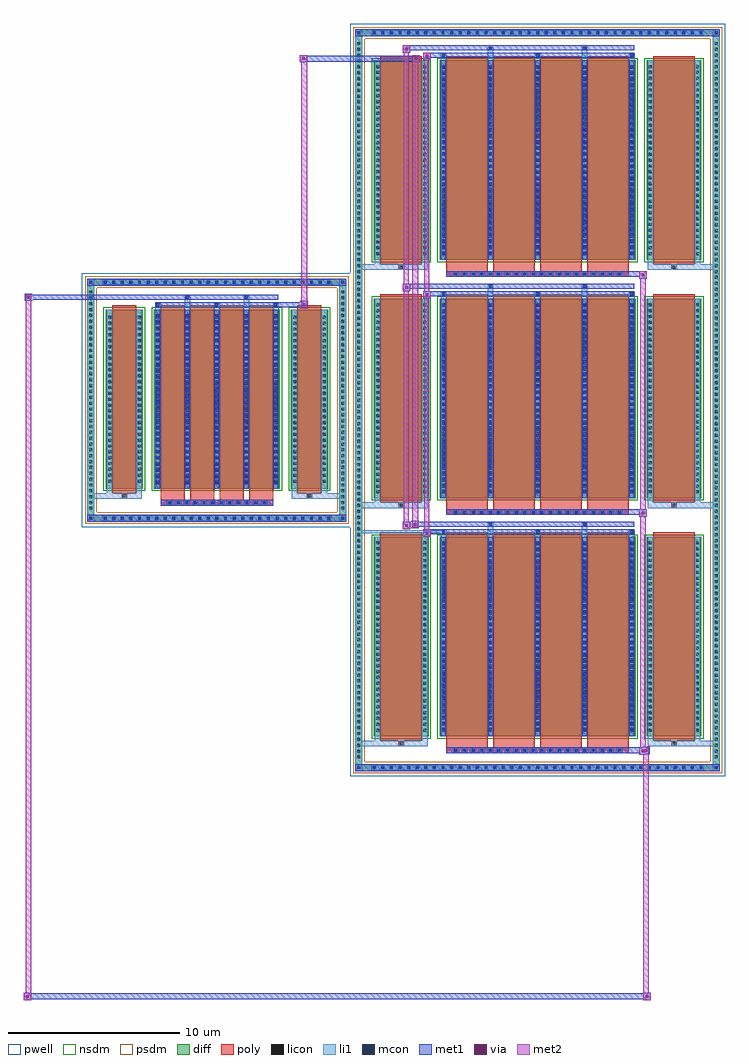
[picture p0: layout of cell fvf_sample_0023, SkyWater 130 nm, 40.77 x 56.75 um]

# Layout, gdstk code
import gdstk
lib = gdstk.Library(unit=1e-6, precision=1e-09)
def R(c, l, rs):  # rectangles x0, y0, x1, y1
    for r in rs: c.add(gdstk.rectangle(r[:2], r[2:], *l))
def A(c, l, x, y, w, h, nx, ny, dx, dy):  # array of equal rectangles
    R(c, l, [(x+i*dx, y+j*dy, x+i*dx+w, y+j*dy+h) for i in range(nx) for j in range(ny)])
def P(c, l, *ps):  # polygons
    for p in ps: c.add(gdstk.Polygon(p, *l))
pwell = (64, 44)
diff = (65, 20)
poly = (66, 20)
licon = (66, 44)
li1 = (67, 20)
mcon = (67, 44)
met1 = (68, 20)
via = (68, 44)
met2 = (69, 20)
nsdm = (93, 44)
psdm = (94, 20)

fvf_sample_0023 = lib.new_cell('fvf_sample_0023')
R(fvf_sample_0023, pwell, [(7.743,-21.872,29.549,21.872), (-7.843,-7.378,7.843,7.378)])
A(fvf_sample_0023, diff, 8.941, -21.562, 0.41, 0.41, 39, 2, 0.5, 42.714)
A(fvf_sample_0023, diff, 8.053, -20.945, 0.41, 0.41, 1, 123, 0, 0.34)
A(fvf_sample_0023, diff, 28.829, -20.945, 0.41, 0.41, 1, 123, 0, 0.34)
A(fvf_sample_0023, diff, 9.123, -19.541, 3.186, 11.602, 1, 3, 0, 13.848)
A(fvf_sample_0023, diff, 12.949, -19.541, 11.394, 11.602, 1, 3, 0, 13.848)
A(fvf_sample_0023, diff, 24.983, -19.541, 3.186, 11.602, 1, 3, 0, 13.848)
A(fvf_sample_0023, diff, -6.705, -7.068, 0.41, 0.41, 27, 2, 0.5, 13.726)
A(fvf_sample_0023, diff, -7.533, -6.495, 0.41, 0.41, 1, 38, 0, 0.34)
A(fvf_sample_0023, diff, 7.123, -6.495, 0.41, 0.41, 1, 38, 0, 0.34)
R(fvf_sample_0023, diff, [(8.941,-21.562,28.351,-21.152), (8.053,-20.945,8.463,20.945), (28.829,-20.945,29.239,20.945), (-6.705,-7.068,6.705,-6.658), (-7.533,-6.495,-7.123,6.495), (7.123,-6.495,7.533,6.495), (-6.463,-5.147,-4.297,5.263), (-3.657,-5.147,3.657,5.263), (4.297,-5.147,6.463,5.263), (-6.705,6.658,6.705,7.068), (8.941,21.152,28.351,21.562)])
P(fvf_sample_0023, diff, [(7.533,7.068),(-7.533,7.068),(-7.533,-6.658),(-7.123,-6.658),(-7.123,6.658),(7.123,6.658),(7.123,-6.658),(-7.123,-6.658),(-7.533,-6.658),(-7.533,-7.068),(7.533,-7.068)],
  [(29.239,21.562),(8.053,21.562),(8.053,-21.152),(8.463,-21.152),(8.463,21.152),(28.829,21.152),(28.829,-21.152),(8.463,-21.152),(8.053,-21.152),(8.053,-21.562),(29.239,-21.562)])
A(fvf_sample_0023, poly, 13.339, -20.522, 10.614, 0.33, 1, 3, 0, 13.848)
A(fvf_sample_0023, poly, 13.731, -20.522, 0.33, 0.33, 20, 3, 0.5, 13.848)
A(fvf_sample_0023, poly, 13.339, -20.192, 2.406, 0.401, 4, 3, 2.736, 13.848)
A(fvf_sample_0023, poly, 9.513, -19.791, 2.406, 12.102, 1, 3, 0, 13.848)
A(fvf_sample_0023, poly, 13.339, -19.791, 2.406, 12.102, 4, 3, 2.736, 13.848)
A(fvf_sample_0023, poly, 25.373, -19.791, 2.406, 12.102, 1, 3, 0, 13.848)
A(fvf_sample_0023, poly, -2.915, -6.128, 0.33, 0.33, 12, 1, 0.5, 0)
A(fvf_sample_0023, poly, -3.267, -5.798, 1.386, 0.401, 4, 1, 1.716, 0)
A(fvf_sample_0023, poly, -3.267, -5.397, 1.386, 10.91, 4, 1, 1.716, 0)
R(fvf_sample_0023, poly, [(10.551,-20.121,10.881,-19.791), (10.551,-20.121,10.881,-19.791), (26.411,-20.121,26.741,-19.791), (26.411,-20.121,26.741,-19.791), (10.551,-6.273,10.881,-5.943), (10.551,-6.273,10.881,-5.943), (26.411,-6.273,26.741,-5.943), (26.411,-6.273,26.741,-5.943), (-3.267,-6.128,3.267,-5.798), (-5.545,-5.727,-5.215,-5.397), (-5.545,-5.727,-5.215,-5.397), (5.215,-5.727,5.545,-5.397), (5.215,-5.727,5.545,-5.397), (-6.073,-5.397,-4.687,5.513), (4.687,-5.397,6.073,5.513), (10.551,7.575,10.881,7.905), (10.551,7.575,10.881,7.905), (26.411,7.575,26.741,7.905), (26.411,7.575,26.741,7.905)])
A(fvf_sample_0023, licon, 9.061, -21.442, 0.17, 0.17, 39, 2, 0.5, 42.714)
A(fvf_sample_0023, licon, 8.173, -20.825, 0.17, 0.17, 1, 123, 0, 0.34)
A(fvf_sample_0023, licon, 28.949, -20.825, 0.17, 0.17, 1, 123, 0, 0.34)
A(fvf_sample_0023, licon, 13.811, -20.442, 0.17, 0.17, 20, 3, 0.5, 13.848)
A(fvf_sample_0023, licon, 10.631, -20.041, 0.17, 0.17, 1, 3, 0, 13.848)
A(fvf_sample_0023, licon, 26.491, -20.041, 0.17, 0.17, 1, 3, 0, 13.848)
A(fvf_sample_0023, licon, 9.263, -19.265, 0.17, 0.17, 1, 33, 0, 0.34)
A(fvf_sample_0023, licon, 11.999, -19.265, 0.17, 0.17, 1, 33, 0, 0.34)
A(fvf_sample_0023, licon, 13.089, -19.265, 0.17, 0.17, 5, 33, 2.736, 0.34)
A(fvf_sample_0023, licon, 25.123, -19.265, 0.17, 0.17, 1, 33, 0, 0.34)
A(fvf_sample_0023, licon, 27.859, -19.265, 0.17, 0.17, 1, 33, 0, 0.34)
A(fvf_sample_0023, licon, -6.585, -6.948, 0.17, 0.17, 27, 2, 0.5, 13.726)
A(fvf_sample_0023, licon, -7.413, -6.375, 0.17, 0.17, 1, 38, 0, 0.34)
A(fvf_sample_0023, licon, 7.243, -6.375, 0.17, 0.17, 1, 38, 0, 0.34)
A(fvf_sample_0023, licon, -2.835, -6.048, 0.17, 0.17, 12, 1, 0.5, 0)
A(fvf_sample_0023, licon, 9.263, -5.417, 0.17, 0.17, 1, 33, 0, 0.34)
A(fvf_sample_0023, licon, 11.999, -5.417, 0.17, 0.17, 1, 33, 0, 0.34)
A(fvf_sample_0023, licon, 13.089, -5.417, 0.17, 0.17, 5, 33, 2.736, 0.34)
A(fvf_sample_0023, licon, 25.123, -5.417, 0.17, 0.17, 1, 33, 0, 0.34)
A(fvf_sample_0023, licon, 27.859, -5.417, 0.17, 0.17, 1, 33, 0, 0.34)
A(fvf_sample_0023, licon, -6.323, -4.787, 0.17, 0.17, 1, 29, 0, 0.34)
A(fvf_sample_0023, licon, -4.607, -4.787, 0.17, 0.17, 1, 29, 0, 0.34)
A(fvf_sample_0023, licon, -3.517, -4.787, 0.17, 0.17, 5, 29, 1.716, 0.34)
A(fvf_sample_0023, licon, 4.437, -4.787, 0.17, 0.17, 1, 29, 0, 0.34)
A(fvf_sample_0023, licon, 6.153, -4.787, 0.17, 0.17, 1, 29, 0, 0.34)
A(fvf_sample_0023, licon, 9.263, 8.431, 0.17, 0.17, 1, 33, 0, 0.34)
A(fvf_sample_0023, licon, 11.999, 8.431, 0.17, 0.17, 1, 33, 0, 0.34)
A(fvf_sample_0023, licon, 13.089, 8.431, 0.17, 0.17, 5, 33, 2.736, 0.34)
A(fvf_sample_0023, licon, 25.123, 8.431, 0.17, 0.17, 1, 33, 0, 0.34)
A(fvf_sample_0023, licon, 27.859, 8.431, 0.17, 0.17, 1, 33, 0, 0.34)
R(fvf_sample_0023, licon, [(-5.465,-5.647,-5.295,-5.477), (5.295,-5.647,5.465,-5.477)])
A(fvf_sample_0023, li1, 8.981, -21.522, 0.33, 0.33, 39, 2, 0.5, 42.714)
A(fvf_sample_0023, li1, 8.093, -20.905, 0.33, 0.33, 1, 123, 0, 0.34)
A(fvf_sample_0023, li1, 28.869, -20.905, 0.33, 0.33, 1, 123, 0, 0.34)
A(fvf_sample_0023, li1, 13.731, -20.522, 0.33, 0.33, 20, 3, 0.5, 13.848)
A(fvf_sample_0023, li1, 8.053, -20.121, 2.498, 0.33, 1, 3, 0, 13.848)
A(fvf_sample_0023, li1, 9.183, -20.121, 0.33, 0.58, 1, 3, 0, 13.848)
A(fvf_sample_0023, li1, 9.183, -20.121, 1.368, 0.33, 1, 3, 0, 13.848)
A(fvf_sample_0023, li1, 10.551, -20.121, 0.33, 0.33, 1, 3, 0, 13.848)
A(fvf_sample_0023, li1, 10.881, -20.121, 1.368, 0.33, 1, 3, 0, 13.848)
A(fvf_sample_0023, li1, 11.919, -20.121, 0.33, 0.58, 1, 3, 0, 13.848)
A(fvf_sample_0023, li1, 25.043, -20.121, 0.33, 0.58, 1, 3, 0, 13.848)
A(fvf_sample_0023, li1, 25.043, -20.121, 1.368, 0.33, 1, 3, 0, 13.848)
A(fvf_sample_0023, li1, 26.411, -20.121, 0.33, 0.33, 1, 3, 0, 13.848)
A(fvf_sample_0023, li1, 26.411, -20.121, 2.828, 0.33, 1, 3, 0, 13.848)
A(fvf_sample_0023, li1, 26.741, -20.121, 1.368, 0.33, 1, 3, 0, 13.848)
A(fvf_sample_0023, li1, 27.779, -20.121, 0.33, 0.58, 1, 3, 0, 13.848)
A(fvf_sample_0023, li1, 9.183, -19.541, 0.33, 11.602, 1, 3, 0, 13.848)
A(fvf_sample_0023, li1, 11.919, -19.541, 0.33, 11.602, 1, 3, 0, 13.848)
A(fvf_sample_0023, li1, 13.009, -19.541, 0.33, 11.602, 5, 3, 2.736, 13.848)
A(fvf_sample_0023, li1, 25.043, -19.541, 0.33, 11.602, 1, 3, 0, 13.848)
A(fvf_sample_0023, li1, 27.779, -19.541, 0.33, 11.602, 1, 3, 0, 13.848)
A(fvf_sample_0023, li1, 9.183, -19.345, 0.33, 0.33, 1, 33, 0, 0.34)
A(fvf_sample_0023, li1, 11.919, -19.345, 0.33, 0.33, 1, 33, 0, 0.34)
A(fvf_sample_0023, li1, 13.009, -19.345, 0.33, 0.33, 5, 33, 2.736, 0.34)
A(fvf_sample_0023, li1, 25.043, -19.345, 0.33, 0.33, 1, 33, 0, 0.34)
A(fvf_sample_0023, li1, 27.779, -19.345, 0.33, 0.33, 1, 33, 0, 0.34)
A(fvf_sample_0023, li1, 13.089, -19.225, 0.17, 0.17, 5, 31, 2.736, 0.36)
A(fvf_sample_0023, li1, 13.089, -19.225, 0.17, 10.97, 5, 3, 2.736, 13.848)
A(fvf_sample_0023, li1, 13.009, -7.939, 0.33, 0.375, 3, 3, 5.472, 13.848)
A(fvf_sample_0023, li1, 15.745, -7.939, 0.33, 0.805, 1, 3, 0, 13.848)
A(fvf_sample_0023, li1, 21.217, -7.939, 0.33, 0.805, 1, 3, 0, 13.848)
A(fvf_sample_0023, li1, 13.089, -7.734, 0.17, 0.17, 3, 3, 5.472, 13.848)
A(fvf_sample_0023, li1, 15.825, -7.304, 0.17, 0.17, 1, 3, 0, 13.848)
A(fvf_sample_0023, li1, 21.297, -7.304, 0.17, 0.17, 1, 3, 0, 13.848)
A(fvf_sample_0023, li1, -6.665, -7.028, 0.33, 0.33, 27, 2, 0.5, 13.726)
A(fvf_sample_0023, li1, -7.493, -6.455, 0.33, 0.33, 1, 38, 0, 0.34)
A(fvf_sample_0023, li1, 7.163, -6.455, 0.33, 0.33, 1, 38, 0, 0.34)
A(fvf_sample_0023, li1, -2.915, -6.128, 0.33, 0.33, 12, 1, 0.5, 0)
A(fvf_sample_0023, li1, 9.183, -5.497, 0.33, 0.33, 1, 33, 0, 0.34)
A(fvf_sample_0023, li1, 11.919, -5.497, 0.33, 0.33, 1, 33, 0, 0.34)
A(fvf_sample_0023, li1, 13.009, -5.497, 0.33, 0.33, 5, 33, 2.736, 0.34)
A(fvf_sample_0023, li1, 25.043, -5.497, 0.33, 0.33, 1, 33, 0, 0.34)
A(fvf_sample_0023, li1, 27.779, -5.497, 0.33, 0.33, 1, 33, 0, 0.34)
A(fvf_sample_0023, li1, 13.089, -5.377, 0.17, 0.17, 5, 31, 2.736, 0.36)
A(fvf_sample_0023, li1, -3.597, -5.147, 0.33, 10.41, 5, 1, 1.716, 0)
A(fvf_sample_0023, li1, -3.517, -4.887, 0.17, 0.17, 5, 28, 1.716, 0.36)
A(fvf_sample_0023, li1, -3.517, -4.887, 0.17, 9.89, 5, 1, 1.716, 0)
A(fvf_sample_0023, li1, -6.403, -4.867, 0.33, 0.33, 1, 29, 0, 0.34)
A(fvf_sample_0023, li1, -4.687, -4.867, 0.33, 0.33, 1, 29, 0, 0.34)
A(fvf_sample_0023, li1, -3.597, -4.867, 0.33, 0.33, 5, 29, 1.716, 0.34)
A(fvf_sample_0023, li1, 4.357, -4.867, 0.33, 0.33, 1, 29, 0, 0.34)
A(fvf_sample_0023, li1, 6.073, -4.867, 0.33, 0.33, 1, 29, 0, 0.34)
A(fvf_sample_0023, li1, -3.597, 5.263, 0.33, 0.375, 3, 1, 3.432, 0)
A(fvf_sample_0023, li1, -3.517, 5.468, 0.17, 0.17, 3, 1, 3.432, 0)
A(fvf_sample_0023, li1, 9.183, 8.351, 0.33, 0.33, 1, 33, 0, 0.34)
A(fvf_sample_0023, li1, 11.919, 8.351, 0.33, 0.33, 1, 33, 0, 0.34)
A(fvf_sample_0023, li1, 13.009, 8.351, 0.33, 0.33, 5, 33, 2.736, 0.34)
A(fvf_sample_0023, li1, 25.043, 8.351, 0.33, 0.33, 1, 33, 0, 0.34)
A(fvf_sample_0023, li1, 27.779, 8.351, 0.33, 0.33, 1, 33, 0, 0.34)
A(fvf_sample_0023, li1, 13.089, 8.471, 0.17, 0.17, 5, 31, 2.736, 0.36)
R(fvf_sample_0023, li1, [(8.053,-21.562,8.463,-21.152), (28.829,-21.562,29.239,-21.152), (8.981,-21.522,28.311,-21.192), (8.173,-21.442,8.343,-21.272), (8.173,-21.442,8.343,-21.272), (28.949,-21.442,29.119,-21.272), (28.949,-21.442,29.119,-21.272), (8.053,-21.152,8.463,21.152), (28.829,-21.152,29.239,21.152), (13.029,-7.794,13.319,-7.504), (8.053,-7.749,13.029,-7.549), (13.089,-7.734,13.259,-7.564), (-7.533,-7.068,-7.123,-6.658), (7.123,-7.068,7.533,-6.658), (-6.665,-7.028,6.665,-6.698), (-7.413,-6.948,-7.243,-6.778), (-7.413,-6.948,-7.243,-6.778), (7.243,-6.948,7.413,-6.778), (7.243,-6.948,7.413,-6.778), (-7.533,-6.658,-7.123,6.658), (7.123,-6.658,7.533,6.658), (-7.533,-5.727,-5.545,-5.397), (-6.403,-5.727,-5.545,-5.397), (-6.403,-5.727,-6.073,-5.147), (-5.545,-5.727,-5.215,-5.397), (-5.215,-5.727,-4.357,-5.397), (-4.687,-5.727,-4.357,-5.147), (4.357,-5.727,5.215,-5.397), (4.357,-5.727,4.687,-5.147), (5.215,-5.727,5.545,-5.397), (5.215,-5.727,7.533,-5.397), (5.545,-5.727,6.403,-5.397), (6.073,-5.727,6.403,-5.147), (-6.403,-5.147,-6.073,5.263), (-4.687,-5.147,-4.357,5.263), (4.357,-5.147,4.687,5.263), (6.073,-5.147,6.403,5.263), (-1.881,5.263,-1.551,6.068), (1.551,5.263,1.881,6.068), (-1.801,5.898,-1.631,6.068), (1.631,5.898,1.801,6.068), (-7.533,6.658,-7.123,7.068), (7.123,6.658,7.533,7.068), (-6.665,6.698,6.665,7.028), (-7.413,6.778,-7.243,6.948), (-7.413,6.778,-7.243,6.948), (7.243,6.778,7.413,6.948), (7.243,6.778,7.413,6.948), (8.053,21.152,8.463,21.562), (28.829,21.152,29.239,21.562), (8.981,21.192,28.311,21.522), (8.173,21.272,8.343,21.442), (8.173,21.272,8.343,21.442), (28.949,21.272,29.119,21.442), (28.949,21.272,29.119,21.442)])
A(fvf_sample_0023, mcon, 9.061, -21.442, 0.17, 0.17, 39, 2, 0.5, 42.714)
A(fvf_sample_0023, mcon, 13.811, -20.442, 0.17, 0.17, 20, 3, 0.5, 13.848)
A(fvf_sample_0023, mcon, 13.089, -19.225, 0.17, 0.17, 5, 31, 2.736, 0.36)
A(fvf_sample_0023, mcon, 13.089, -7.734, 0.17, 0.17, 3, 3, 5.472, 13.848)
A(fvf_sample_0023, mcon, 15.825, -7.304, 0.17, 0.17, 1, 3, 0, 13.848)
A(fvf_sample_0023, mcon, 21.297, -7.304, 0.17, 0.17, 1, 3, 0, 13.848)
A(fvf_sample_0023, mcon, -6.585, -6.948, 0.17, 0.17, 27, 2, 0.5, 13.726)
A(fvf_sample_0023, mcon, -2.835, -6.048, 0.17, 0.17, 12, 1, 0.5, 0)
A(fvf_sample_0023, mcon, 13.089, -5.377, 0.17, 0.17, 5, 31, 2.736, 0.36)
A(fvf_sample_0023, mcon, -3.517, -4.887, 0.17, 0.17, 5, 28, 1.716, 0.36)
A(fvf_sample_0023, mcon, -3.517, 5.468, 0.17, 0.17, 3, 1, 3.432, 0)
A(fvf_sample_0023, mcon, 13.089, 8.471, 0.17, 0.17, 5, 31, 2.736, 0.36)
R(fvf_sample_0023, mcon, [(8.173,-21.442,8.343,-21.272), (28.949,-21.442,29.119,-21.272), (13.089,-7.734,13.259,-7.564), (-7.413,-6.948,-7.243,-6.778), (7.243,-6.948,7.413,-6.778), (-1.801,5.898,-1.631,6.068), (1.631,5.898,1.801,6.068), (-7.413,6.778,-7.243,6.948), (7.243,6.778,7.413,6.948), (8.173,21.272,8.343,21.442), (28.949,21.272,29.119,21.442)])
A(fvf_sample_0023, met1, 9.001, -21.502, 0.29, 0.29, 39, 2, 0.5, 42.714)
A(fvf_sample_0023, met1, 13.339, -20.522, 10.614, 0.33, 1, 3, 0, 13.848)
A(fvf_sample_0023, met1, 13.751, -20.502, 0.29, 0.29, 20, 3, 0.5, 13.848)
A(fvf_sample_0023, met1, 13.029, -19.541, 0.29, 11.602, 5, 3, 2.736, 13.848)
A(fvf_sample_0023, met1, 13.029, -19.285, 0.29, 0.29, 5, 31, 2.736, 0.36)
A(fvf_sample_0023, met1, 13.029, -7.794, 0.29, 0.29, 3, 3, 5.472, 13.848)
A(fvf_sample_0023, met1, 15.765, -7.364, 0.29, 0.29, 1, 3, 0, 13.848)
A(fvf_sample_0023, met1, 21.237, -7.364, 0.29, 0.29, 1, 3, 0, 13.848)
A(fvf_sample_0023, met1, -6.645, -7.008, 0.29, 0.29, 27, 2, 0.5, 13.726)
A(fvf_sample_0023, met1, -2.895, -6.108, 0.29, 0.29, 12, 1, 0.5, 0)
A(fvf_sample_0023, met1, 13.029, -5.437, 0.29, 0.29, 5, 31, 2.736, 0.36)
A(fvf_sample_0023, met1, -3.577, -5.147, 0.29, 10.41, 5, 1, 1.716, 0)
A(fvf_sample_0023, met1, -3.577, -4.947, 0.29, 0.29, 5, 28, 1.716, 0.36)
A(fvf_sample_0023, met1, -3.577, 5.408, 0.29, 0.29, 3, 1, 3.432, 0)
A(fvf_sample_0023, met1, 13.029, 8.411, 0.29, 0.29, 5, 31, 2.736, 0.36)
R(fvf_sample_0023, met1, [(-11.22,-34.873,-10.79,-34.443), (24.788,-34.873,25.218,-34.443), (-11.22,-34.823,25.218,-34.493), (-11.22,-34.493,-10.79,-34.443), (24.788,-34.493,25.218,-34.443), (8.053,-21.562,8.463,-21.152), (8.053,-21.562,8.463,-21.152), (8.463,-21.562,28.829,-21.152), (28.829,-21.562,29.239,-21.152), (28.829,-21.562,29.239,-21.152), (8.113,-21.502,8.403,-21.212), (28.889,-21.502,29.179,-21.212), (24.553,-20.622,24.983,-20.192), (24.738,-20.572,25.168,-20.142), (23.953,-20.522,24.738,-20.192), (23.953,-20.522,24.983,-20.192), (11.999,-7.934,12.429,-7.504), (11.999,-7.794,13.029,-7.504), (13.029,-7.794,13.319,-7.504), (13.029,-7.794,24.263,-7.504), (10.799,-7.504,11.229,-7.074), (11.314,-7.434,11.744,-7.004), (10.799,-7.364,13.029,-7.074), (11.744,-7.364,13.029,-7.074), (13.029,-7.364,24.263,-7.074), (-7.533,-7.068,-7.123,-6.658), (-7.533,-7.068,-7.123,-6.658), (-7.123,-7.068,7.123,-6.658), (7.123,-7.068,7.533,-6.658), (7.123,-7.068,7.533,-6.658), (-7.473,-7.008,-7.183,-6.718), (7.183,-7.008,7.473,-6.718), (24.553,-6.774,24.983,-6.344), (24.553,-6.774,24.983,-6.344), (23.953,-6.674,24.983,-6.344), (23.953,-6.674,24.983,-6.344), (-3.267,-6.128,3.267,-5.798), (4.862,5.338,5.292,5.768), (-3.577,5.408,3.577,5.698), (3.577,5.408,4.862,5.698), (-11.17,5.768,-10.74,6.198), (-10.74,5.838,-3.577,6.128), (-3.577,5.838,3.577,6.128), (-1.861,5.838,-1.571,6.128), (1.571,5.838,1.861,6.128), (11.999,5.914,12.429,6.344), (11.999,5.914,12.429,6.344), (11.999,6.054,13.029,6.344), (11.999,6.054,13.029,6.344), (13.029,6.054,24.263,6.344), (10.799,6.344,11.229,6.774), (10.799,6.344,11.229,6.774), (10.799,6.484,13.029,6.774), (10.799,6.484,13.029,6.774), (13.029,6.484,24.263,6.774), (-7.533,6.658,-7.123,7.068), (-7.533,6.658,-7.123,7.068), (-7.123,6.658,7.123,7.068), (7.123,6.658,7.533,7.068), (7.123,6.658,7.533,7.068), (-7.473,6.718,-7.183,7.008), (7.183,6.718,7.473,7.008), (24.553,7.074,24.983,7.504), (23.953,7.174,24.983,7.504), (4.812,19.639,5.242,20.069), (11.364,19.639,11.794,20.069), (4.812,19.689,11.794,20.019), (11.999,19.762,12.429,20.192), (11.999,19.902,13.029,20.192), (13.029,19.902,24.263,20.192), (4.812,20.019,5.242,20.069), (11.364,20.019,11.794,20.069), (10.799,20.192,11.229,20.622), (10.799,20.332,13.029,20.622), (13.029,20.332,24.263,20.622), (8.053,21.152,8.463,21.562), (8.053,21.152,8.463,21.562), (8.463,21.152,28.829,21.562), (28.829,21.152,29.239,21.562), (28.829,21.152,29.239,21.562), (8.113,21.212,8.403,21.502), (28.889,21.212,29.179,21.502)])
R(fvf_sample_0023, via, [(-11.08,-34.733,-10.93,-34.583), (24.928,-34.733,25.078,-34.583), (24.693,-20.482,24.843,-20.332), (24.878,-20.432,25.028,-20.282), (12.139,-7.794,12.289,-7.644), (10.939,-7.364,11.089,-7.214), (11.454,-7.294,11.604,-7.144), (24.693,-6.634,24.843,-6.484), (24.693,-6.634,24.843,-6.484), (5.002,5.478,5.152,5.628), (-11.03,5.908,-10.88,6.058), (12.139,6.054,12.289,6.204), (12.139,6.054,12.289,6.204), (10.939,6.484,11.089,6.634), (10.939,6.484,11.089,6.634), (24.693,7.214,24.843,7.364), (4.952,19.779,5.102,19.929), (11.504,19.779,11.654,19.929), (12.139,19.902,12.289,20.052), (10.939,20.332,11.089,20.482)])
R(fvf_sample_0023, met2, [(-11.22,-34.873,-10.79,-34.443), (-11.12,-34.873,-10.79,5.818), (24.788,-34.873,25.218,-34.443), (24.788,-34.873,25.118,-20.522), (-11.17,-34.823,-10.84,-34.493), (24.838,-34.823,25.168,-34.493), (24.553,-20.622,24.983,-20.192), (24.603,-20.622,24.933,-6.344), (24.933,-20.622,24.983,-20.192), (24.603,-20.572,24.933,-20.242), (24.788,-20.522,25.118,-20.192), (11.999,-7.934,12.429,-7.504), (12.069,-7.934,12.359,6.344), (12.359,-7.934,12.429,-7.504), (12.049,-7.884,12.379,-7.554), (10.799,-7.504,11.229,-7.074), (10.869,-7.504,11.159,6.774), (11.159,-7.504,11.229,-7.074), (10.849,-7.454,11.179,-7.124), (11.364,-7.384,11.694,-7.054), (11.364,-7.054,11.694,20.069), (24.553,-6.774,24.983,-6.344), (24.553,-6.774,24.983,-6.344), (24.603,-6.774,24.933,7.504), (24.933,-6.774,24.983,-6.344), (24.933,-6.774,24.983,-6.344), (24.603,-6.724,24.933,-6.394), (24.603,-6.724,24.933,-6.394), (4.912,5.388,5.242,5.718), (4.912,5.718,5.242,20.069), (-11.12,5.818,-10.79,6.148), (11.999,5.914,12.429,6.344), (11.999,5.914,12.429,6.344), (12.069,5.914,12.359,20.192), (12.359,5.914,12.429,6.344), (12.359,5.914,12.429,6.344), (12.049,5.964,12.379,6.294), (12.049,5.964,12.379,6.294), (10.799,6.344,11.229,6.774), (10.799,6.344,11.229,6.774), (10.869,6.344,11.159,20.622), (11.159,6.344,11.229,6.774), (11.159,6.344,11.229,6.774), (10.849,6.394,11.179,6.724), (10.849,6.394,11.179,6.724), (24.553,7.074,24.983,7.504), (24.933,7.074,24.983,7.504), (24.603,7.124,24.933,7.454), (4.812,19.639,5.242,20.069), (11.364,19.639,11.794,20.069), (4.862,19.689,5.192,20.019), (11.414,19.689,11.744,20.019), (11.999,19.762,12.429,20.192), (12.359,19.762,12.429,20.192), (12.049,19.812,12.379,20.142), (10.799,20.192,11.229,20.622), (11.159,20.192,11.229,20.622), (10.849,20.242,11.179,20.572)])
A(fvf_sample_0023, nsdm, 8.993, -19.671, 3.446, 11.862, 1, 3, 0, 13.848)
A(fvf_sample_0023, nsdm, 12.819, -19.671, 11.654, 11.862, 1, 3, 0, 13.848)
A(fvf_sample_0023, nsdm, 24.853, -19.671, 3.446, 11.862, 1, 3, 0, 13.848)
R(fvf_sample_0023, nsdm, [(-6.593,-5.277,-4.167,5.393), (-3.787,-5.277,3.787,5.393), (4.167,-5.277,6.593,5.393)])
P(fvf_sample_0023, psdm, [(7.663,7.198),(-7.663,7.198),(-7.663,-6.528),(-6.993,-6.528),(-6.993,6.528),(6.993,6.528),(6.993,-6.528),(-6.993,-6.528),(-7.663,-6.528),(-7.663,-7.198),(7.663,-7.198)],
  [(29.369,21.692),(7.923,21.692),(7.923,-21.022),(8.593,-21.022),(8.593,21.022),(28.699,21.022),(28.699,-21.022),(8.593,-21.022),(7.923,-21.022),(7.923,-21.692),(29.369,-21.692)])

lib.write_gds('fvf_sample_0023.gds')
